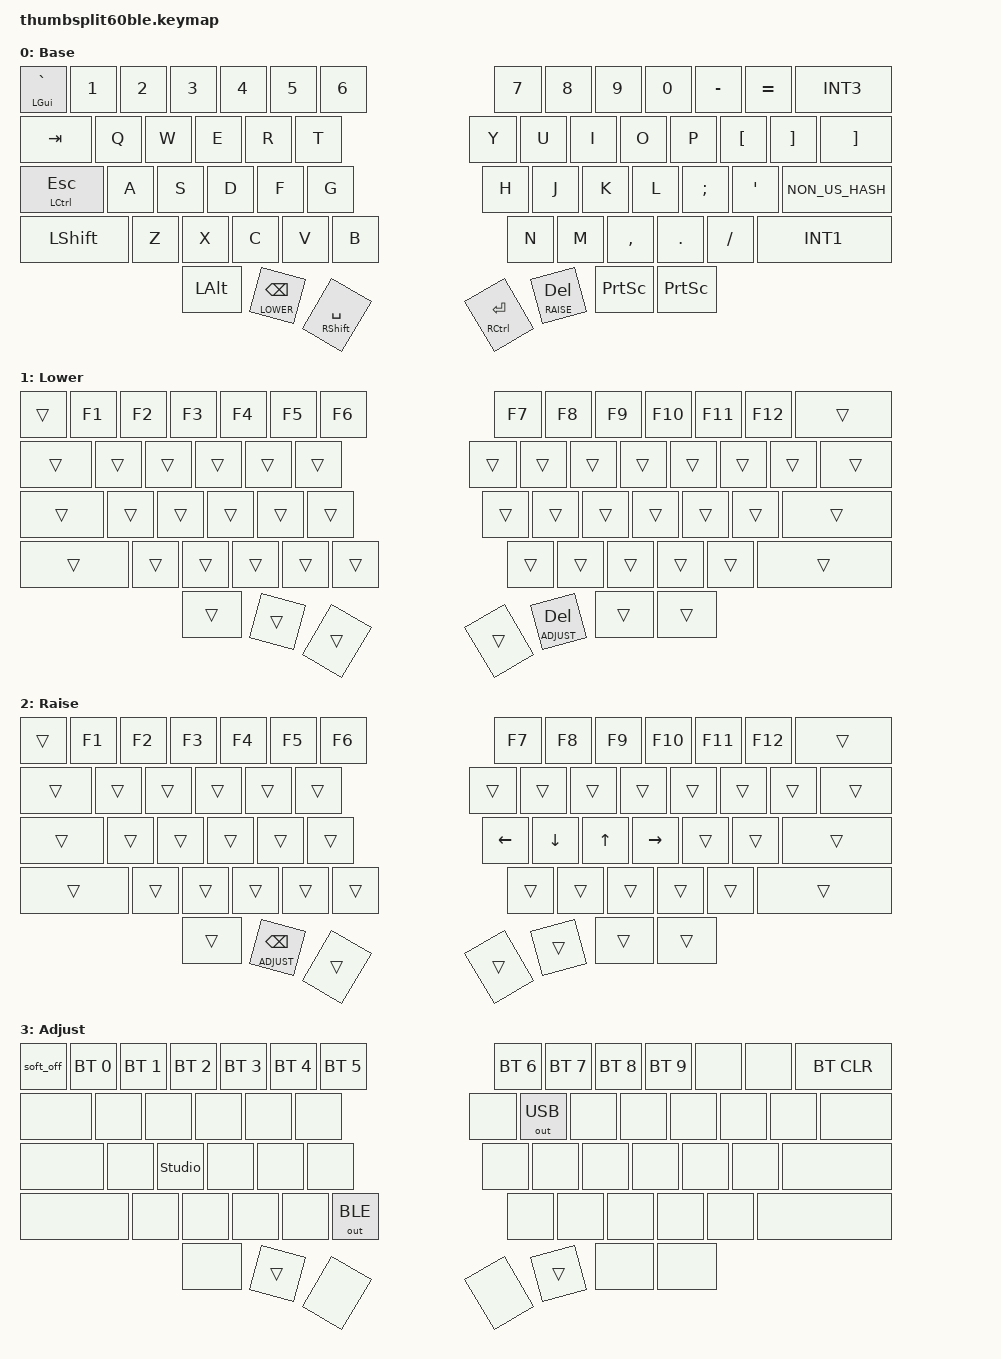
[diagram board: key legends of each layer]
/*
 * Copyright (c) 2024 Kazuyuki Arimatsu
 * SPDX-License-Identifier: MIT
 */

#include <behaviors.dtsi>
#include <dt-bindings/zmk/bt.h>
#include <dt-bindings/zmk/keys.h>
#include <dt-bindings/zmk/outputs.h>

#define DEFAULT 0
#define LOWER   1
#define RAISE   2
#define ADJUST  3

/ {
	keymap {
		compatible = "zmk,keymap";

		default_layer {
			display-name = "Base";
// Based on Japanese standard keyboard layout (JP-106)
// ------------------------------------------------------------------------------------------------------------
// | ZH(GUI)   |  1  |  2  |  3  |  4  |  5  |  6  |          |  7  |  8  |  9  |  0  |  -  |  ^  |  \  |
// | TAB       |  Q  |  W  |  E  |  R  |  T  |          |  Y  |  U  |  I  |  O  |  P  |  @  |  [  |  [  |
// | ESC(CTRL) |  A  |  S  |  D  |  F  |  G  |          |  H  |  J  |  K  |  L  |  ;  |  :  |  ]  |
// | SHIFT     |  Z  |  X  |  C  |  V  |  B  |          |  N  |  M  |  ,  |  .  |  /  |  \  |
//        | ALT | BSPC(LOWER) | SPACE(SHIFT) |          | ENTER(CTRL) | DEL(RAISE) | PRTSC | PRTSC | 
			bindings = <
&mt LGUI GRAVE &kp N1 &kp N2 &kp N3 &kp N4 &kp N5 &kp N6           &kp N7 &kp N8    &kp N9  &kp N0   &kp MINUS &kp EQUAL &kp INT3
&kp TAB        &kp Q  &kp W  &kp E  &kp R  &kp T            &kp Y  &kp U  &kp I     &kp O   &kp P    &kp LBKT  &kp RBKT  &kp RBKT
&mt LCTRL ESC  &kp A  &kp S  &kp D  &kp F  &kp G            &kp H  &kp J  &kp K     &kp L   &kp SEMI &kp SQT   &kp NON_US_HASH
&kp LSHFT      &kp Z  &kp X  &kp C  &kp V  &kp B            &kp N  &kp M  &kp COMMA &kp DOT &kp FSLH &kp INT1
         &kp LALT &lt LOWER BSPC &mt RSHFT SPACE            &mt RCTRL RET &lt RAISE DEL &kp PSCRN  &kp PSCRN
			>;
		};
		lower_layer {
			display-name = "Lower";
// ------------------------------------------------------------------------------------------------------------
// |   | F1 | F2 | F3 | F4 | F5 | F6 |         | F7 | F8 | F9 | F10 | F11 | F12 |   |
// |   |    |    |    |    |    |          |   |    |    |    |     |     |     |   |
// |   |    |    |    |    |    |          |   |    |    |    |     |     |     |
// |   |    |    |    |    |    |          |   |    |    |    |     |     |
//               |    |    |    |          |   |    |    |    |
			bindings = <
&trans &kp F1 &kp F2 &kp F3 &kp F4 &kp F5 &kp F6           &kp F7 &kp F8 &kp F9 &kp F10 &kp F11 &kp F12 &trans
&trans &trans &trans &trans &trans &trans           &trans &trans &trans &trans &trans  &trans  &trans &trans
&trans &trans &trans &trans &trans &trans           &trans &trans &trans &trans &trans  &trans  &trans   
&trans &trans &trans &trans &trans &trans           &trans &trans &trans &trans &trans  &trans    
                     &trans &trans &trans           &trans &lt ADJUST DEL &trans &trans
			>;
		};
		raise_layer {
			display-name = "Raise";
// ------------------------------------------------------------------------------------------------------------
// |   | F1 | F2 | F3 | F4 | F5 | F6 |            |  F7  | F8 |  F9   | F10 | F11 | F12 |   |
// |   |    |    |    |    |    |          |      |      |    |       |     |     |     |   |
// |   |    |    |    |    |    |          | Left | Down | Up | Right |     |     |     |
// |   |    |    |    |    |    |          |      |      |    |       |     |     |
//               |    |    |    |          |      |      |    |       |
			bindings = <
&trans &kp F1 &kp F2 &kp F3 &kp F4 &kp F5 &kp F6             &kp F7   &kp F8 &kp F9    &kp F10 &kp F11 &kp F12 &trans 
&trans &trans &trans &trans &trans &trans           &trans   &trans   &trans &trans    &trans  &trans  &trans &trans
&trans &trans &trans &trans &trans &trans           &kp LEFT &kp DOWN &kp UP &kp RIGHT &trans  &trans  &trans   
&trans &trans &trans &trans &trans &trans           &trans   &trans   &trans &trans    &trans  &trans    
            &trans &lt ADJUST BSPC &trans           &trans   &trans   &trans &trans
			>;
		};
		adjust_layer {
			display-name = "Adjust";
// ------------------------------------------------------------------------------------------------------------
// | SOFT_OFF | BT1 | BT2           | BT3 | BT4 | BT5     | BT6 |        | BT7     | BT8 | BT9 | BT0 |   |   | BT_CLR |
// |          |     |               |     |     |         |          |   | OUT_USB |     |     |     |   |   |        |
// |          |     | STUDIO_UNLOCK |     |     |         |          |   |         |     |     |     |   |   |
// |          |     |               |     |     | OUT_BLE |          |   |         |     |     |     |   |
//                                  |     |     |         |          |   |         |     |     |
			bindings = <
&soft_off  &bt BT_SEL 0 &bt BT_SEL 1   &bt BT_SEL 2 &bt BT_SEL 3 &bt BT_SEL 4 &bt BT_SEL 5       &bt BT_SEL 6 &bt BT_SEL 7 &bt BT_SEL 8 &bt BT_SEL 9 &none &none &bt BT_CLR 
&none      &none        &none          &none        &none        &none                     &none &out OUT_USB &none        &none        &none        &none &none &none
&none      &none        &studio_unlock &none        &none        &none                     &none &none        &none        &none        &none        &none &none  
&none      &none        &none          &none        &none        &out OUT_BLE              &none &none        &none        &none        &none        &none   
                                       &none        &trans       &none                     &none &trans       &none        &none
			>;
		};
	};
};
